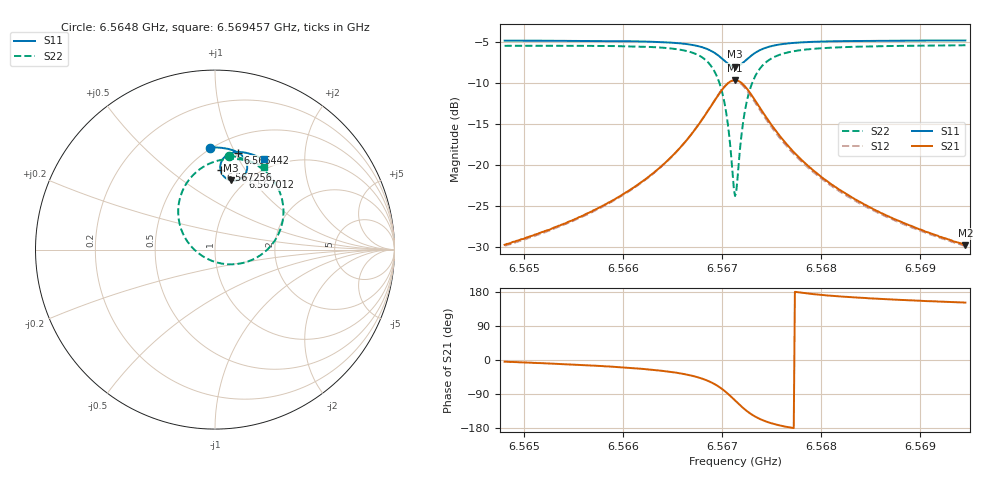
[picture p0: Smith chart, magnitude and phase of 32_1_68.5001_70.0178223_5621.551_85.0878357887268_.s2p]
#  HZ  S  RI  R  50.00
! Rohde & Schwarz Vector Network Analyzer
! Rohde-Schwarz,ZNB20-2Port,1311601062101988,3.16
! Created: UTC 3/20/2024, 4:49:58 PM
! freq[Hz]  re:S11  im:S11  re:S21  im:S21  re:S12  im:S12  re:S22  im:S22
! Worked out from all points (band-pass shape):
!   401 points, 6.5648 GHz to 6.569457 GHz, reference 50 ohm
!   highest |S21| = -9.69 dB at 6.567128 GHz (marker M1); lowest = -29.8 dB at 6.569457 GHz (marker M2)
!   |S21| within 3 dB of the highest: 6.566894 GHz to 6.567361 GHz (466.6 kHz wide, 0.00711 % of centre)
!   lowest |S11| = -8.1 dB at 6.567128 GHz (marker M3), VSWR 2.31, Z = 42.9 + j39.2 ohm
!   |S11| at or under -10 dB: nowhere
!   |S22| runs from -23.8 to -5.4 dB; largest |S21 - S12| = 0.017
!   S11 on the Smith chart (normalised r, x): 6.5648 GHz: 0.49, +0.83; 6.566442 GHz: 0.66, +1.03; 6.567012 GHz: 0.93, +0.93; 6.567256 GHz: 0.71, +0.78; 6.569457 GHz: 0.86, +1.28
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6.5648e9  -0.0271 0.5688  0.0326 -0.00254  0.0321 -0.00306  0.078 0.5239
6.56558e9  0.0392 0.5666  0.0477 -0.0112  0.0469 -0.0118  0.159 0.5052
6.5660224e9  0.081 0.5592  0.0638 -0.0234  0.0629 -0.024  0.2188 0.479
6.56636e9  0.1179 0.5461  0.0846 -0.0441  0.0834 -0.0452  0.2801 0.4357
6.5664415e9  0.1279 0.5409  0.0914 -0.0529  0.0902 -0.0542  0.2983 0.4182
6.5666744e9  0.1588 0.5153  0.1144 -0.0972  0.1127 -0.0994  0.3562 0.3315
6.5668374e9  0.1777 0.4775  0.1231 -0.1644  0.1197 -0.1684  0.3813 0.2016
6.5669421e9  0.1761 0.4369  0.1016 -0.2356  0.0946 -0.2407  0.3429 0.066
6.567012e9  0.1576 0.4058  0.0545 -0.2885  0.0428 -0.2922  0.2533 -0.0313
6.5670586e9  0.134 0.3898  0.00264 -0.3142  -0.012 -0.3147  0.1557 -0.0744
6.5671051e9  0.1031 0.3836  -0.0612 -0.3202  -0.0772 -0.3156  0.0388 -0.0781
6.5671284e9  0.0869 0.3856  -0.0942 -0.3138  -0.1094 -0.3062  -0.0194 -0.0618
6.5671517e9  0.0715 0.391  -0.1251 -0.301  -0.139 -0.2909  -0.0725 -0.0345
6.5672099e9  0.0423 0.4164  -0.184 -0.2485  -0.1924 -0.2342  -0.1678 0.0678
6.5672565e9  0.0314 0.442  -0.2078 -0.1981  -0.2114 -0.1836  -0.2005 0.1596
6.5673496e9  0.0343 0.4862  -0.2093 -0.1126  -0.2072 -0.1014  -0.1881 0.3088
6.5674893e9  0.0617 0.5228  -0.1728 -0.0417  -0.169 -0.0356  -0.1096 0.4275
6.5676523e9  0.0934 0.5389  -0.1331 -0.00809  -0.1297 -0.00481  -0.0271 0.4809
6.5679084e9  0.1324 0.5441  -0.0934 0.00957  -0.091 0.0111  0.0603 0.5038
6.5682577e9  0.1723 0.5394  -0.0646 0.0154  -0.0629 0.0162  0.1343 0.5035
6.5686884e9  0.212 0.5282  -0.0456 0.0166  -0.0445 0.0169  0.1948 0.4909
6.5694568e9  0.2719 0.5022  -0.0286 0.0155  -0.028 0.0158  0.2708 0.4603
